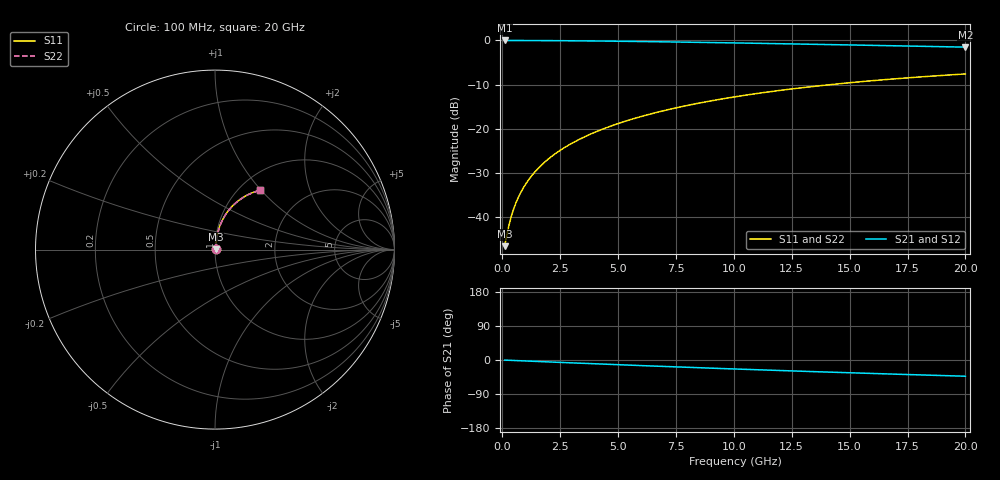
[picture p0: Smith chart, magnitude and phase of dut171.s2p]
! Touchstone file exported from HFSS 2024.1.0
!  File:  C:/UserFiles/LocalFiles/RDL_TSV_Batchsim/temp_RDL_top_171_1778685819.aedt
!  Generated:  11:26:08 PM May 13, 2026
!  Design:  RDL_top
!  Project:  temp_RDL_top_171_1778685819
!  Setup:  Setup1
!  Solution:  Sweep
! Variables:
!  dtsv = 10.80580581um
!  hbump = 3um
!  htsv = 56.21um
!  ldown = 100um
!  lrdl = 604.38um
!  p = 40
!  p1 = 44.84um
!  rhole = 1um
!  t = 450um
!  tdown = 3.915915916um
!  trdl = 3.21um
!  wdown = 15.38538539um
!  wrdl = 17.24um
# GHz S MA R 50.000000
! Terminal data exported
! Port[1] = Box2_T1
! Port[2] = Box2_T2
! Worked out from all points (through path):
!   200 points, 100 MHz to 20 GHz, reference 50 ohm
!   highest |S21| = -0.04 dB at 100 MHz (marker M1); lowest = -1.5 dB at 20 GHz (marker M2)
!   group delay of S21, straight-line fit = 5.93 ps
!   lowest |S11| = -46.6 dB at 100 MHz (marker M3), VSWR 1.01, Z = 50.4 + j0.246 ohm
!   |S11| at or under -10 dB: start of sweep to 14.21 GHz
!   |S22| runs from -46.6 to -7.6 dB; largest |S21 - S12| = 3.1e-15
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0.1  0.004703 31.3  0.996 -0.3  0.996 -0.3  0.004703 31.3
! Gamma 0 0 0 0
! Port Impedance 50 0 50 0
0.2  0.006373 49.5  0.9958 -0.5  0.9958 -0.5  0.006373 49.5
0.3  0.008374 59.1  0.9957 -0.8  0.9957 -0.8  0.008374 59.1
0.4  0.01047 64.7  0.9955 -1.0  0.9955 -1.0  0.01047 64.7
0.5  0.01261 68.4  0.9953 -1.3  0.9953 -1.3  0.01261 68.4
0.6  0.01476 71.1  0.9951 -1.6  0.9951 -1.6  0.01476 71.0
0.8  0.01909 74.6  0.9947 -2.1  0.9947 -2.1  0.01909 74.6
1.1  0.02566 77.6  0.9941 -2.8  0.9941 -2.8  0.02566 77.6
1.3  0.03008 78.8  0.9937 -3.3  0.9937 -3.3  0.03008 78.8
1.6  0.03676 80.0  0.993 -4.1  0.993 -4.1  0.03676 80.0
2.1  0.04799 81.0  0.9914 -5.3  0.9914 -5.3  0.04799 81.0
2.7  0.06158 81.3  0.9891 -6.8  0.9891 -6.8  0.06157 81.3
3.5  0.07985 81.1  0.9853 -8.8  0.9853 -8.8  0.07984 81.1
4.2  0.09595 80.5  0.9813 -10.5  0.9813 -10.5  0.09593 80.5
5  0.1144 79.6  0.9762 -12.4  0.9762 -12.4  0.1144 79.5
5.9  0.1353 78.3  0.9697 -14.5  0.9697 -14.5  0.1353 78.3
6.8  0.1561 76.9  0.9627 -16.6  0.9627 -16.6  0.1561 76.8
8.4  0.1928 74.1  0.9491 -20.2  0.9491 -20.2  0.1927 74.0
10.1  0.2308 70.9  0.9336 -23.9  0.9336 -23.9  0.2307 70.9
13.4  0.3002 64.6  0.902 -30.6  0.902 -30.6  0.3 64.6
16.7  0.3624 58.4  0.8694 -36.9  0.8694 -36.9  0.3621 58.4
20  0.4165 52.6  0.8372 -42.8  0.8372 -42.8  0.4162 52.5
